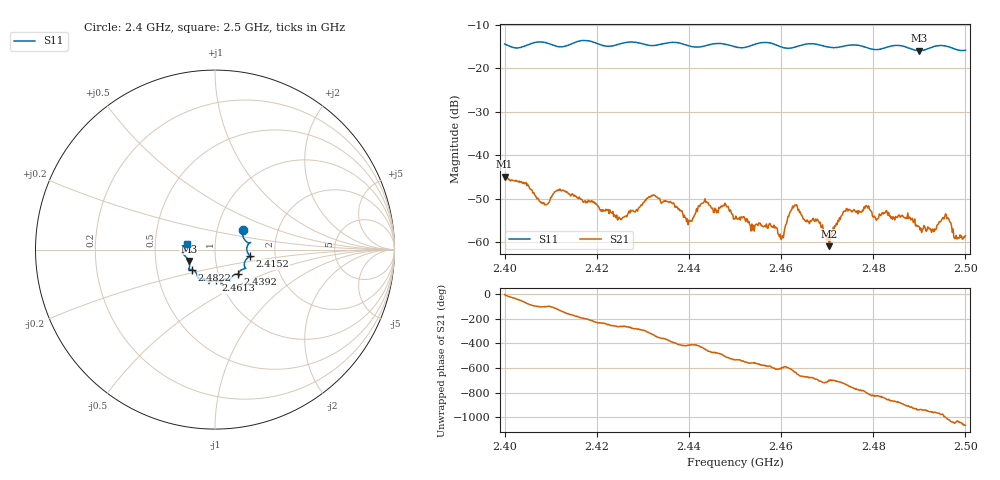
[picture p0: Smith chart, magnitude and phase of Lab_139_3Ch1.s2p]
# Hz S RI R 50
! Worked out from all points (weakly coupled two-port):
!   601 points, 2.4 GHz to 2.5 GHz, reference 50 ohm
!   highest |S21| = -44.90 dB at 2.4 GHz (marker M1); lowest = -60.9 dB at 2.4705 GHz (marker M2)
!   lowest |S11| = -15.9 dB at 2.49 GHz (marker M3), VSWR 1.38, Z = 36.9 - j4.84 ohm
!   |S11| at or under -10 dB: start of sweep to end of sweep
!   S12 and S22 are empty: the file has one direction only
!   S11 on the Smith chart (normalised r, x): 2.4 GHz: 1.33, +0.31; 2.4152 GHz: 1.48, -0.11; 2.4392 GHz: 1.24, -0.35; 2.4613 GHz: 0.96, -0.34; 2.4822 GHz: 0.76, -0.17; 2.5 GHz: 0.73, +0.05
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2.4e9  0.1555 0.1107  0.00566 -0.0006  0 0  0 0
2.408667e9  0.1954 0.0394  -0.000795 -0.00258  0 0  0 0
2.4115e9  0.178 0.0138  -0.00237 -0.00312  0 0  0 0
2.415167e9  0.195 -0.0359  -0.00349 -7.95e-05  0 0  0 0
2.416667e9  0.2046 -0.0418  -0.00302 0.000835  0 0  0 0
2.425e9  0.1655 -0.0962  -0.000236 0.00188  0 0  0 0
2.433333e9  0.132 -0.1321  0.00318 0.000421  0 0  0 0
2.439167e9  0.1271 -0.1379  0.000956 -0.00167  0 0  0 0
2.443667e9  0.0872 -0.1611  -0.00014 -0.00288  0 0  0 0
2.45e9  0.0687 -0.1636  -0.00186 -0.00016  0 0  0 0
2.46e9  0.0246 -0.1752  -0.0004 0.001  0 0  0 0
2.461333e9  0.00699 -0.1705  -0.000982 0.00149  0 0  0 0
2.463e9  -0.017 -0.1752  0.000232 0.00267  0 0  0 0
2.466667e9  -0.0335 -0.1895  0.00136 0.00116  0 0  0 0
2.4705e9  -0.0476 -0.1687  0.000872 0.000232  0 0  0 0
2.474e9  -0.086 -0.1607  0.0022 -0.000527  0 0  0 0
2.482167e9  -0.128 -0.1117  -0.000982 -0.00187  0 0  0 0
2.483333e9  -0.1393 -0.1102  -0.0015 -0.0016  0 0  0 0
2.49e9  -0.1469 -0.0639  -0.00116 0.000958  0 0  0 0
2.495833e9  -0.1794 -0.0188  0.000514 0.00202  0 0  0 0
2.498e9  -0.1651 4.38e-05  0.000842 0.000855  0 0  0 0
2.5e9  -0.1581 0.0337  0.00115 0.000306  0 0  0 0
